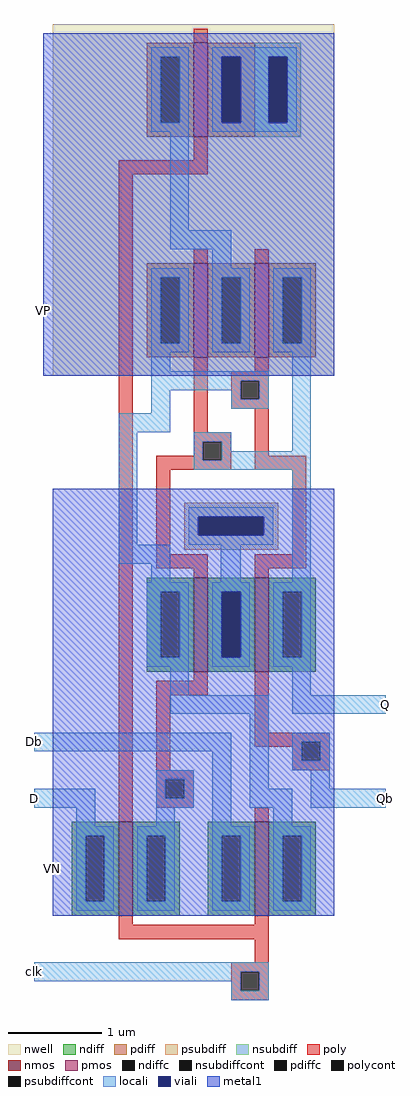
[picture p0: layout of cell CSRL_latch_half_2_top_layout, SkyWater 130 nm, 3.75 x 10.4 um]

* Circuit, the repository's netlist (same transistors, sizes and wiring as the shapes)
* SPICE3 file created from CSRL_latch_half_2_top_layout.ext - technology: sky130A

.subckt CSRL_latch_half_2 D Db clk VP VN Q Qb
X0 Q Qb a_1060_880# VP sky130_fd_pr__pfet_01v8 ad=5e+11p pd=3e+06u as=1e+12p ps=6e+06u w=1e+06u l=150000u
X1 Q clk D VN sky130_fd_pr__nfet_01v8 ad=1e+12p pd=6e+06u as=5e+11p ps=3e+06u w=1e+06u l=150000u
X2 VN Q Qb VN sky130_fd_pr__nfet_01v8 ad=5e+11p pd=3e+06u as=1e+12p ps=6e+06u w=1e+06u l=150000u
X3 Q Qb VN VN sky130_fd_pr__nfet_01v8 ad=0p pd=0u as=0p ps=0u w=1e+06u l=150000u
X4 Qb clk Db VN sky130_fd_pr__nfet_01v8 ad=0p pd=0u as=5e+11p ps=3e+06u w=1e+06u l=150000u
X5 VP clk a_1060_880# VP sky130_fd_pr__pfet_01v8 ad=5e+11p pd=3e+06u as=0p ps=0u w=1e+06u l=150000u
X6 a_1060_880# Q Qb VP sky130_fd_pr__pfet_01v8 ad=0p pd=0u as=5e+11p ps=3e+06u w=1e+06u l=150000u
.ends


* Top level circuit CSRL_latch_half_2_top_layout

XCSRL_latch_half_2_0 D Db clk VP VN Q Qb CSRL_latch_half_2
.end

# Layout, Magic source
magic
tech sky130A
<< locali >>
rect 342 303 372 323
rect -3 263 27 283
rect -3 203 27 223
rect 342 203 372 223
rect -3 18 27 38
<< metal1 >>
rect 7 663 21 763
rect 17 88 31 188
use CSRL_latch_half_2  CSRL_latch_half_2_0 ~/Documents/Mini_Project_2/half_CSRL_2/layout
transform 1 0 -413 0 1 478
box 410 -480 785 560
<< labels >>
rlabel metal1 7 733 7 733 7 VP
rlabel locali -3 273 -3 273 7 Db
rlabel locali -3 213 -3 213 7 D
rlabel metal1 17 138 17 138 7 VN
rlabel locali -3 28 -3 28 7 clk
rlabel locali 372 313 372 313 3 Q
rlabel locali 372 213 372 213 3 Qb
<< end >>

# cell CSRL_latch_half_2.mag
magic
tech sky130A
<< nwell >>
rect 430 185 730 560
<< nmos >>
rect 580 -130 595 -30
rect 645 -130 660 -30
rect 500 -390 515 -290
rect 645 -390 660 -290
<< pmos >>
rect 580 440 595 540
rect 580 205 595 305
rect 645 205 660 305
<< ndiff >>
rect 530 -45 580 -30
rect 530 -115 545 -45
rect 565 -115 580 -45
rect 530 -130 580 -115
rect 595 -45 645 -30
rect 595 -115 610 -45
rect 630 -115 645 -45
rect 595 -130 645 -115
rect 660 -45 710 -30
rect 660 -115 675 -45
rect 695 -115 710 -45
rect 660 -130 710 -115
rect 450 -305 500 -290
rect 450 -375 465 -305
rect 485 -375 500 -305
rect 450 -390 500 -375
rect 515 -305 565 -290
rect 515 -375 530 -305
rect 550 -375 565 -305
rect 515 -390 565 -375
rect 595 -305 645 -290
rect 595 -375 610 -305
rect 630 -375 645 -305
rect 595 -390 645 -375
rect 660 -305 710 -290
rect 660 -375 675 -305
rect 695 -375 710 -305
rect 660 -390 710 -375
<< pdiff >>
rect 530 525 580 540
rect 530 455 545 525
rect 565 455 580 525
rect 530 440 580 455
rect 595 525 645 540
rect 595 455 610 525
rect 630 455 645 525
rect 595 440 645 455
rect 530 290 580 305
rect 530 220 545 290
rect 565 220 580 290
rect 530 205 580 220
rect 595 290 645 305
rect 595 220 610 290
rect 630 220 645 290
rect 595 205 645 220
rect 660 290 710 305
rect 660 220 675 290
rect 695 220 710 290
rect 660 205 710 220
<< ndiffc >>
rect 545 -115 565 -45
rect 610 -115 630 -45
rect 675 -115 695 -45
rect 465 -375 485 -305
rect 530 -375 550 -305
rect 610 -375 630 -305
rect 675 -375 695 -305
<< pdiffc >>
rect 545 455 565 525
rect 610 455 630 525
rect 545 220 565 290
rect 610 220 630 290
rect 675 220 695 290
<< psubdiff >>
rect 570 35 670 50
rect 570 15 585 35
rect 655 15 670 35
rect 570 0 670 15
<< nsubdiff >>
rect 645 525 694 540
rect 645 455 660 525
rect 680 455 694 525
rect 645 440 694 455
<< psubdiffcont >>
rect 585 15 655 35
<< nsubdiffcont >>
rect 660 455 680 525
<< poly >>
rect 580 540 595 555
rect 580 415 595 440
rect 500 400 595 415
rect 500 -290 515 400
rect 580 305 595 320
rect 645 305 660 320
rect 580 125 595 205
rect 645 190 660 205
rect 620 180 660 190
rect 620 160 630 180
rect 650 160 660 180
rect 620 150 660 160
rect 580 115 620 125
rect 580 100 590 115
rect 540 95 590 100
rect 610 95 620 115
rect 540 85 620 95
rect 645 100 660 150
rect 645 85 700 100
rect 540 -5 555 85
rect 685 -5 700 85
rect 540 -20 595 -5
rect 580 -30 595 -20
rect 645 -20 700 -5
rect 645 -30 660 -20
rect 580 -140 595 -130
rect 540 -155 595 -140
rect 540 -235 555 -155
rect 645 -195 660 -130
rect 645 -205 725 -195
rect 645 -210 695 -205
rect 685 -225 695 -210
rect 715 -225 725 -205
rect 685 -235 725 -225
rect 540 -245 580 -235
rect 540 -265 550 -245
rect 570 -265 580 -245
rect 540 -275 580 -265
rect 645 -290 660 -275
rect 500 -400 515 -390
rect 645 -400 660 -390
rect 500 -415 660 -400
rect 645 -440 660 -415
rect 620 -450 660 -440
rect 620 -470 630 -450
rect 650 -470 660 -450
rect 620 -480 660 -470
<< polycont >>
rect 630 160 650 180
rect 590 95 610 115
rect 695 -225 715 -205
rect 550 -265 570 -245
rect 630 -470 650 -450
<< locali >>
rect 535 525 575 535
rect 535 455 545 525
rect 565 455 575 525
rect 535 445 575 455
rect 600 525 690 535
rect 600 455 610 525
rect 630 455 660 525
rect 680 455 690 525
rect 600 445 690 455
rect 555 340 575 445
rect 555 320 620 340
rect 600 300 620 320
rect 535 290 575 300
rect 535 220 545 290
rect 565 220 575 290
rect 535 210 575 220
rect 600 290 640 300
rect 600 220 610 290
rect 630 220 640 290
rect 600 210 640 220
rect 665 290 705 300
rect 665 220 675 290
rect 695 220 705 290
rect 665 210 705 220
rect 535 190 555 210
rect 535 180 660 190
rect 535 170 630 180
rect 535 145 555 170
rect 620 160 630 170
rect 650 160 660 180
rect 620 150 660 160
rect 500 125 555 145
rect 500 5 520 125
rect 580 115 620 125
rect 580 95 590 115
rect 610 105 620 115
rect 685 105 705 210
rect 610 95 705 105
rect 580 85 705 95
rect 575 35 665 45
rect 575 15 585 35
rect 655 15 665 35
rect 575 5 665 15
rect 500 -15 555 5
rect 535 -35 555 -15
rect 609 -35 630 5
rect 685 -35 705 85
rect 530 -45 575 -35
rect 530 -115 545 -45
rect 565 -115 575 -45
rect 530 -125 575 -115
rect 600 -45 640 -35
rect 600 -115 610 -45
rect 630 -115 640 -45
rect 600 -125 640 -115
rect 665 -45 705 -35
rect 665 -115 675 -45
rect 695 -115 705 -45
rect 665 -125 705 -115
rect 555 -155 575 -125
rect 685 -155 705 -125
rect 555 -175 660 -155
rect 685 -175 785 -155
rect 410 -215 620 -195
rect 540 -245 580 -235
rect 410 -275 475 -255
rect 455 -295 475 -275
rect 540 -265 550 -245
rect 570 -265 580 -245
rect 540 -275 580 -265
rect 540 -295 560 -275
rect 455 -305 495 -295
rect 455 -375 465 -305
rect 485 -375 495 -305
rect 455 -385 495 -375
rect 520 -305 560 -295
rect 520 -375 530 -305
rect 550 -375 560 -305
rect 520 -385 560 -375
rect 600 -295 620 -215
rect 640 -255 660 -175
rect 685 -205 725 -195
rect 685 -225 695 -205
rect 715 -225 725 -205
rect 685 -235 725 -225
rect 705 -255 725 -235
rect 640 -275 685 -255
rect 705 -275 785 -255
rect 665 -295 685 -275
rect 600 -305 640 -295
rect 600 -375 610 -305
rect 630 -375 640 -305
rect 600 -385 640 -375
rect 665 -305 705 -295
rect 665 -375 675 -305
rect 695 -375 705 -305
rect 665 -385 705 -375
rect 410 -450 660 -440
rect 410 -460 630 -450
rect 620 -470 630 -460
rect 650 -470 660 -450
rect 620 -480 660 -470
<< viali >>
rect 610 455 630 525
rect 660 455 680 525
rect 585 15 655 35
rect 610 -115 630 -45
<< metal1 >>
rect 420 525 730 550
rect 420 455 610 525
rect 630 455 660 525
rect 680 455 730 525
rect 420 185 730 455
rect 430 35 730 65
rect 430 15 585 35
rect 655 15 730 35
rect 430 -45 730 15
rect 430 -115 610 -45
rect 630 -115 730 -45
rect 430 -390 730 -115
<< labels >>
rlabel metal1 420 255 420 255 7 VP
port 6 w
rlabel locali 410 -265 410 -265 7 D
port 1 w
rlabel locali 410 -205 410 -205 7 Db
port 2 w
rlabel locali 410 -450 410 -450 7 clk
port 5 w
rlabel metal1 430 -340 430 -340 7 VN
port 7 w
rlabel locali 785 -165 785 -165 3 Q
port 8 e
rlabel locali 785 -265 785 -265 3 Qb
port 9 e
<< end >>
